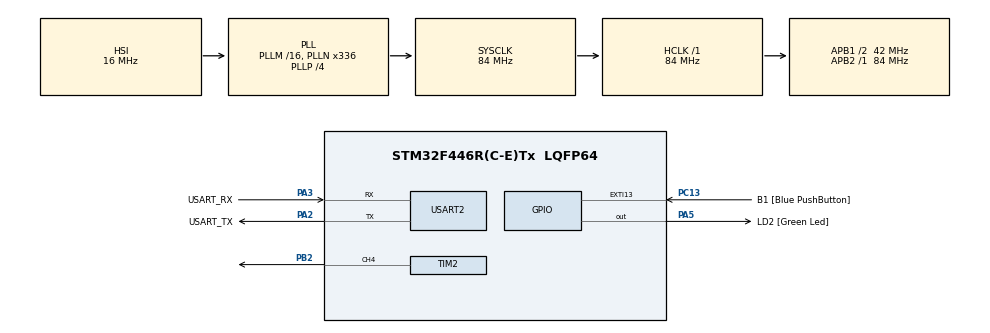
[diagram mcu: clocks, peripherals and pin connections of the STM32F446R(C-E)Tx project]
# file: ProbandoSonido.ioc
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Mcu.Family=STM32F4
Mcu.Name=STM32F446R(C-E)Tx
Mcu.Package=LQFP64
NVIC.PriorityGroup=NVIC_PRIORITYGROUP_0
PA13.GPIO_Label=TMS
PA13.Mode=Serial_Wire
PA13.Signal=SYS_JTMS-SWDIO
PA14.GPIO_Label=TCK
PA14.Mode=Serial_Wire
PA14.Signal=SYS_JTCK-SWCLK
PA2.GPIO_Label=USART_TX
PA2.Mode=Asynchronous
PA2.Signal=USART2_TX
PA3.GPIO_Label=USART_RX
PA3.Mode=Asynchronous
PA3.Signal=USART2_RX
PA5.GPIO_Label=LD2 [Green Led]
PA5.Signal=GPIO_Output
PB2.Signal=S_TIM2_CH4
PB3.GPIO_Label=SWO
PB3.Signal=SYS_JTDO-SWO
PC13.GPIO_Label=B1 [Blue PushButton]
PC13.GPIO_ModeDefaultEXTI=GPIO_MODE_IT_FALLING
PC13.Signal=GPXTI13
PC14-OSC32_IN.Mode=LSE-External-Oscillator
PC14-OSC32_IN.Signal=RCC_OSC32_IN
PC15-OSC32_OUT.Mode=LSE-External-Oscillator
PC15-OSC32_OUT.Signal=RCC_OSC32_OUT
PH0-OSC_IN.Mode=HSE-External-Oscillator
PH0-OSC_IN.Signal=RCC_OSC_IN
PH1-OSC_OUT.Mode=HSE-External-Oscillator
PH1-OSC_OUT.Signal=RCC_OSC_OUT
ProjectManager.HeapSize=0x200
ProjectManager.StackSize=0x400
ProjectManager.TargetToolchain=STM32CubeIDE
RCC.48MHZClocksFreq_Value=84000000
RCC.AHBFreq_Value=84000000
RCC.APB1CLKDivider=RCC_HCLK_DIV2
RCC.APB1Freq_Value=42000000
RCC.APB1TimFreq_Value=84000000
RCC.APB2Freq_Value=84000000
RCC.APB2TimFreq_Value=84000000
RCC.CortexFreq_Value=84000000
RCC.FLatency-AdvancedSettings=FLASH_LATENCY_2
RCC.HCLKFreq_Value=84000000
RCC.HSE_VALUE=8000000
RCC.HSI_VALUE=16000000
RCC.PLLN=336
RCC.PLLP=RCC_PLLP_DIV4
RCC.SYSCLKFreq_VALUE=84000000
RCC.SYSCLKSource=RCC_SYSCLKSOURCE_PLLCLK
RCC.USBFreq_Value=168000000
RCC.VCOOutputFreq_Value=336000000
SH.S_TIM2_CH4.0=TIM2_CH4,PWM Generation4 CH4
TIM2.Channel-PWM\ Generation4\ CH4=TIM_CHANNEL_4
TIM2.Period=20
TIM2.Prescaler=127
USART2.VirtualMode=VM_ASYNC
VP_TIM2_VS_ClockSourceINT.Mode=Internal
board=NUCLEO-F446RE

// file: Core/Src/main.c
/* USER CODE BEGIN Header */
/**
  ******************************************************************************
  * @file           : main.c
  * @brief          : Main program body
  ******************************************************************************
  * @attention
  *
  * Copyright (c) 2024 STMicroelectronics.
  * All rights reserved.
  *
  * This software is licensed under terms that can be found in the LICENSE file
  * in the root directory of this software component.
  * If no LICENSE file comes with this software, it is provided AS-IS.
  *
  ******************************************************************************
  */
/* USER CODE END Header */
#include "main.h"

/* USER CODE BEGIN PD */
#define TIMER_CLK 84000000  // 84 MHz clock
#define PRESCALER 127
#define COUNTER_PERIOD 20
// Define notes for Star Wars melody
// Formula to calculate ARR for a given note frequency
#define NOTE_FREQ_TO_ARR(freq) ((TIMER_CLK) / ((PRESCALER + 1) * (freq)))
#define NOTE_A4  NOTE_FREQ_TO_ARR(440)    // A4, 440 Hz
#define NOTE_A5  NOTE_FREQ_TO_ARR(440)    // Transpose A5 to A4
#define NOTE_F4  NOTE_FREQ_TO_ARR(349)    // F4, 349 Hz
#define NOTE_C5  NOTE_FREQ_TO_ARR(523)    // C5, 523 Hz
#define NOTE_E5  NOTE_FREQ_TO_ARR(659)    // E5, 659 Hz
#define NOTE_GS4 NOTE_FREQ_TO_ARR(415)    // G#4, 415 Hz
#define NOTE_F5  NOTE_FREQ_TO_ARR(349)    // Transpose F5 to F4
#define NOTE_GS5 NOTE_FREQ_TO_ARR(415)    // Transpose G#5 to G#4
#define NOTE_G5  NOTE_FREQ_TO_ARR(392)    // Transpose G5 to G4
#define NOTE_FS5 NOTE_FREQ_TO_ARR(370)    // Transpose F#5 to F#4
#define NOTE_AS5 NOTE_FREQ_TO_ARR(466)    // A#5, 466 Hz
#define NOTE_DS5 NOTE_FREQ_TO_ARR(622)    // D#5, 622 Hz
#define NOTE_D5  NOTE_FREQ_TO_ARR(587)    // D5, 587 Hz
#define NOTE_CS5 NOTE_FREQ_TO_ARR(554)    // C#5, 554 Hz
#define NOTE_AS4 NOTE_FREQ_TO_ARR(466)    // A#4, 466 Hz

/* USER CODE END PD */

TIM_HandleTypeDef htim2;

UART_HandleTypeDef huart2;

void SystemClock_Config(void);
static void MX_GPIO_Init(void);
static void MX_USART2_UART_Init(void);
static void MX_TIM2_Init(void);

/* USER CODE BEGIN 0 */
void beep(uint16_t ARR_value, uint16_t duration_ms) {
    // Set the auto-reload register (ARR) value for the desired frequency
    __HAL_TIM_SET_AUTORELOAD(&htim2, ARR_value);

    // Set the duty cycle to 50% (for square wave)
    __HAL_TIM_SET_COMPARE(&htim2, TIM_CHANNEL_4, ARR_value / 2);

    // Start PWM
    HAL_TIM_PWM_Start(&htim2, TIM_CHANNEL_4);

    // Play the sound for the specified duration
    HAL_Delay(duration_ms);

    // Stop PWM (silence the buzzer)
    HAL_TIM_PWM_Stop(&htim2, TIM_CHANNEL_4);
}

void PlayMelody() {
	// First section
	    beep(NOTE_A4, 500);
	    beep(NOTE_A4, 500);
	    beep(NOTE_A4, 500);
	    beep(NOTE_F4, 350);
	    beep(NOTE_C5, 150);
	    beep(NOTE_A4, 500);
	    beep(NOTE_F4, 350);
	    beep(NOTE_C5, 150);
	    beep(NOTE_A4, 650);
	    HAL_Delay(500);

	    beep(NOTE_E5, 500);
	    beep(NOTE_E5, 500);
	    beep(NOTE_E5, 500);
	    beep(NOTE_F5, 350);
	    beep(NOTE_C5, 150);
	    beep(NOTE_GS4, 500);
	    beep(NOTE_F4, 350);
	    beep(NOTE_C5, 150);
	    beep(NOTE_A4, 650);
	    HAL_Delay(500);

	    // Second section
	    beep(NOTE_A5, 500);
	    beep(NOTE_A4, 300);
	    beep(NOTE_A4, 150);
	    beep(NOTE_A5, 500);
	    beep(NOTE_GS5, 325);
	    beep(NOTE_G5, 175);
	    beep(NOTE_FS5, 125);
	    beep(NOTE_F5, 125);
	    beep(NOTE_FS5, 250);
	    HAL_Delay(325);

	    beep(NOTE_AS5, 250);
	    beep(NOTE_DS5, 500);
	    beep(NOTE_D5, 325);
	    beep(NOTE_CS5, 175);
	    beep(NOTE_C5, 125);
	    beep(NOTE_AS4, 125);
	    beep(NOTE_C5, 250);
	    HAL_Delay(350);

	    // Variant 1
	    beep(NOTE_F4, 250);
	    beep(NOTE_GS4, 500);
	    beep(NOTE_F4, 350);
	    beep(NOTE_A4, 125);
	    beep(NOTE_C5, 500);
	    beep(NOTE_A4, 375);
	    beep(NOTE_C5, 125);
	    beep(NOTE_E5, 650);
	    HAL_Delay(500);

	    // Second section again
	    beep(NOTE_A5, 500);
	    beep(NOTE_A4, 300);
	    beep(NOTE_A4, 150);
	    beep(NOTE_A5, 500);
	    beep(NOTE_GS5, 325);
	    beep(NOTE_G5, 175);
	    beep(NOTE_FS5, 125);
	    beep(NOTE_F5, 125);
	    beep(NOTE_FS5, 250);
	    HAL_Delay(325);

	    beep(NOTE_AS5, 250);
	    beep(NOTE_DS5, 500);
	    beep(NOTE_D5, 325);
	    beep(NOTE_CS5, 175);
	    beep(NOTE_C5, 125);
	    beep(NOTE_AS4, 125);
	    beep(NOTE_C5, 250);
	    HAL_Delay(350);

	    // Variant 2
	    beep(NOTE_F4, 250);
	    beep(NOTE_GS4, 500);
	    beep(NOTE_F4, 375);
	    beep(NOTE_C5, 125);
	    beep(NOTE_A4, 500);
	    beep(NOTE_F4, 375);
	    beep(NOTE_C5, 125);
	    beep(NOTE_A4, 650);
	    HAL_Delay(650);
}

void nonBlockingDelay(uint32_t delay) {
    uint32_t start = HAL_GetTick();
    while ((HAL_GetTick() - start) < delay) {
        // Do nothing, just wait for the delay to pass
    }
}

void playMelody2() {
    static uint8_t noteIndex = 0;
    uint16_t notes[] = {NOTE_A4, NOTE_C5, NOTE_E5};
    uint16_t durations[] = {500, 500, 500};
    uint8_t numNotes = sizeof(notes) / sizeof(notes[0]);

    if (noteIndex < numNotes) {
        beep(notes[noteIndex], durations[noteIndex]);
        nonBlockingDelay(100);
        noteIndex++;
    } else {
        noteIndex = 0;  // Restart melody
    }
}
/* USER CODE END 0 */

int main(void)
{

  /* MCU Configuration--------------------------------------------------------*/

  /* Reset of all peripherals, Initializes the Flash interface and the Systick. */
  HAL_Init();

  /* Configure the system clock */
  SystemClock_Config();

  /* Initialize all configured peripherals */
  MX_GPIO_Init();
  MX_USART2_UART_Init();
  MX_TIM2_Init();
  /* USER CODE BEGIN 2 */
  HAL_TIM_PWM_Start(&htim2, TIM_CHANNEL_4);

  /* USER CODE END 2 */

  /* Infinite loop */
  /* USER CODE BEGIN WHILE */
  while (1)
  {
	  beep(NOTE_A4, 500);
	  	    beep(NOTE_A4, 500);
	  	    beep(NOTE_A4, 500);
	  	    beep(NOTE_F4, 350);
	  	    beep(NOTE_C5, 150);
	  	    beep(NOTE_A4, 500);
	  	    beep(NOTE_F4, 350);
	  	    beep(NOTE_C5, 150);
	  	    beep(NOTE_A4, 650);
	  	    HAL_Delay(500);

	  	    beep(NOTE_E5, 500);
	  	    beep(NOTE_E5, 500);
	  	    beep(NOTE_E5, 500);
	  	    beep(NOTE_F5, 350);
	  	    beep(NOTE_C5, 150);
	  	    beep(NOTE_GS4, 500);
	  	    beep(NOTE_F4, 350);
	  	    beep(NOTE_C5, 150);
	  	    beep(NOTE_A4, 650);
	  	    HAL_Delay(500);

	  	    // Second section
	  	    beep(NOTE_A5, 500);
	  	    beep(NOTE_A4, 300);
	  	    beep(NOTE_A4, 150);
	  	    beep(NOTE_A5, 500);
	  	    beep(NOTE_GS5, 325);
	  	    beep(NOTE_G5, 175);
	  	    beep(NOTE_FS5, 125);
	  	    beep(NOTE_F5, 125);
	  	    beep(NOTE_FS5, 250);
	  	    HAL_Delay(325);

	  	    beep(NOTE_AS5, 250);
	  	    beep(NOTE_DS5, 500);
	  	    beep(NOTE_D5, 325);
	  	    beep(NOTE_CS5, 175);
	  	    beep(NOTE_C5, 125);
	  	    beep(NOTE_AS4, 125);
	  	    beep(NOTE_C5, 250);
	  	    HAL_Delay(350);

	  	    // Variant 1
	  	    beep(NOTE_F4, 250);
	  	    beep(NOTE_GS4, 500);
	  	    beep(NOTE_F4, 350);
	  	    beep(NOTE_A4, 125);
	  	    beep(NOTE_C5, 500);
	  	    beep(NOTE_A4, 375);
	  	    beep(NOTE_C5, 125);
	  	    beep(NOTE_E5, 650);
	  	    HAL_Delay(500);

	  	    // Second section again
	  	    beep(NOTE_A5, 500);
	  	    beep(NOTE_A4, 300);
	  	    beep(NOTE_A4, 150);
	  	    beep(NOTE_A5, 500);
	  	    beep(NOTE_GS5, 325);
	  	    beep(NOTE_G5, 175);
	  	    beep(NOTE_FS5, 125);
	  	    beep(NOTE_F5, 125);
	  	    beep(NOTE_FS5, 250);
	  	    HAL_Delay(325);

	  	    beep(NOTE_AS5, 250);
	  	    beep(NOTE_DS5, 500);
	  	    beep(NOTE_D5, 325);
	  	    beep(NOTE_CS5, 175);
	  	    beep(NOTE_C5, 125);
	  	    beep(NOTE_AS4, 125);
	  	    beep(NOTE_C5, 250);
	  	    HAL_Delay(350);

	  	    // Variant 2
	  	    beep(NOTE_F4, 250);
	  	    beep(NOTE_GS4, 500);
	  	    beep(NOTE_F4, 375);
	  	    beep(NOTE_C5, 125);
	  	    beep(NOTE_A4, 500);
	  	    beep(NOTE_F4, 375);
	  	    beep(NOTE_C5, 125);
	  	    beep(NOTE_A4, 650);
	  	    HAL_Delay(650);
	  /* USER CODE END WHILE */

  }
}

void SystemClock_Config(void)
{
  RCC_OscInitTypeDef RCC_OscInitStruct = {0};
  RCC_ClkInitTypeDef RCC_ClkInitStruct = {0};

  /** Configure the main internal regulator output voltage
  */
  __HAL_RCC_PWR_CLK_ENABLE();
  __HAL_PWR_VOLTAGESCALING_CONFIG(PWR_REGULATOR_VOLTAGE_SCALE3);

  /** Initializes the RCC Oscillators according to the specified parameters
  * in the RCC_OscInitTypeDef structure.
  */
  RCC_OscInitStruct.OscillatorType = RCC_OSCILLATORTYPE_HSI;
  RCC_OscInitStruct.HSIState = RCC_HSI_ON;
  RCC_OscInitStruct.HSICalibrationValue = RCC_HSICALIBRATION_DEFAULT;
  RCC_OscInitStruct.PLL.PLLState = RCC_PLL_ON;
  RCC_OscInitStruct.PLL.PLLSource = RCC_PLLSOURCE_HSI;
  RCC_OscInitStruct.PLL.PLLM = 16;
  RCC_OscInitStruct.PLL.PLLN = 336;
  RCC_OscInitStruct.PLL.PLLP = RCC_PLLP_DIV4;
  RCC_OscInitStruct.PLL.PLLQ = 2;
  RCC_OscInitStruct.PLL.PLLR = 2;
  if (HAL_RCC_OscConfig(&RCC_OscInitStruct) != HAL_OK)
  {
    Error_Handler();
  }

  /** Initializes the CPU, AHB and APB buses clocks
  */
  RCC_ClkInitStruct.ClockType = RCC_CLOCKTYPE_HCLK|RCC_CLOCKTYPE_SYSCLK
                              |RCC_CLOCKTYPE_PCLK1|RCC_CLOCKTYPE_PCLK2;
  RCC_ClkInitStruct.SYSCLKSource = RCC_SYSCLKSOURCE_PLLCLK;
  RCC_ClkInitStruct.AHBCLKDivider = RCC_SYSCLK_DIV1;
  RCC_ClkInitStruct.APB1CLKDivider = RCC_HCLK_DIV2;
  RCC_ClkInitStruct.APB2CLKDivider = RCC_HCLK_DIV1;

  if (HAL_RCC_ClockConfig(&RCC_ClkInitStruct, FLASH_LATENCY_2) != HAL_OK)
  {
    Error_Handler();
  }
}

static void MX_TIM2_Init(void)
{

  TIM_ClockConfigTypeDef sClockSourceConfig = {0};
  TIM_MasterConfigTypeDef sMasterConfig = {0};
  TIM_OC_InitTypeDef sConfigOC = {0};

  htim2.Instance = TIM2;
  htim2.Init.Prescaler = 127;
  htim2.Init.CounterMode = TIM_COUNTERMODE_UP;
  htim2.Init.Period = 20;
  htim2.Init.ClockDivision = TIM_CLOCKDIVISION_DIV1;
  htim2.Init.AutoReloadPreload = TIM_AUTORELOAD_PRELOAD_DISABLE;
  if (HAL_TIM_Base_Init(&htim2) != HAL_OK)
  {
    Error_Handler();
  }
  sClockSourceConfig.ClockSource = TIM_CLOCKSOURCE_INTERNAL;
  if (HAL_TIM_ConfigClockSource(&htim2, &sClockSourceConfig) != HAL_OK)
  {
    Error_Handler();
  }
  if (HAL_TIM_PWM_Init(&htim2) != HAL_OK)
  {
    Error_Handler();
  }
  sMasterConfig.MasterOutputTrigger = TIM_TRGO_RESET;
  sMasterConfig.MasterSlaveMode = TIM_MASTERSLAVEMODE_DISABLE;
  if (HAL_TIMEx_MasterConfigSynchronization(&htim2, &sMasterConfig) != HAL_OK)
  {
    Error_Handler();
  }
  sConfigOC.OCMode = TIM_OCMODE_PWM1;
  sConfigOC.Pulse = 0;
  sConfigOC.OCPolarity = TIM_OCPOLARITY_HIGH;
  sConfigOC.OCFastMode = TIM_OCFAST_DISABLE;
  if (HAL_TIM_PWM_ConfigChannel(&htim2, &sConfigOC, TIM_CHANNEL_4) != HAL_OK)
  {
    Error_Handler();
  }
  HAL_TIM_MspPostInit(&htim2);

}

static void MX_USART2_UART_Init(void)
{

  huart2.Instance = USART2;
  huart2.Init.BaudRate = 115200;
  huart2.Init.WordLength = UART_WORDLENGTH_8B;
  huart2.Init.StopBits = UART_STOPBITS_1;
  huart2.Init.Parity = UART_PARITY_NONE;
  huart2.Init.Mode = UART_MODE_TX_RX;
  huart2.Init.HwFlowCtl = UART_HWCONTROL_NONE;
  huart2.Init.OverSampling = UART_OVERSAMPLING_16;
  if (HAL_UART_Init(&huart2) != HAL_OK)
  {
    Error_Handler();
  }

}

static void MX_GPIO_Init(void)
{
  GPIO_InitTypeDef GPIO_InitStruct = {0};

  /* GPIO Ports Clock Enable */
  __HAL_RCC_GPIOC_CLK_ENABLE();
  __HAL_RCC_GPIOH_CLK_ENABLE();
  __HAL_RCC_GPIOA_CLK_ENABLE();
  __HAL_RCC_GPIOB_CLK_ENABLE();

  /*Configure GPIO pin Output Level */
  HAL_GPIO_WritePin(LD2_GPIO_Port, LD2_Pin, GPIO_PIN_RESET);

  /*Configure GPIO pin : B1_Pin */
  GPIO_InitStruct.Pin = B1_Pin;
  GPIO_InitStruct.Mode = GPIO_MODE_IT_FALLING;
  GPIO_InitStruct.Pull = GPIO_NOPULL;
  HAL_GPIO_Init(B1_GPIO_Port, &GPIO_InitStruct);

  /*Configure GPIO pin : LD2_Pin */
  GPIO_InitStruct.Pin = LD2_Pin;
  GPIO_InitStruct.Mode = GPIO_MODE_OUTPUT_PP;
  GPIO_InitStruct.Pull = GPIO_NOPULL;
  GPIO_InitStruct.Speed = GPIO_SPEED_FREQ_LOW;
  HAL_GPIO_Init(LD2_GPIO_Port, &GPIO_InitStruct);

}

void Error_Handler(void)
{
  __disable_irq();
  while (1)
  {
  }
}
